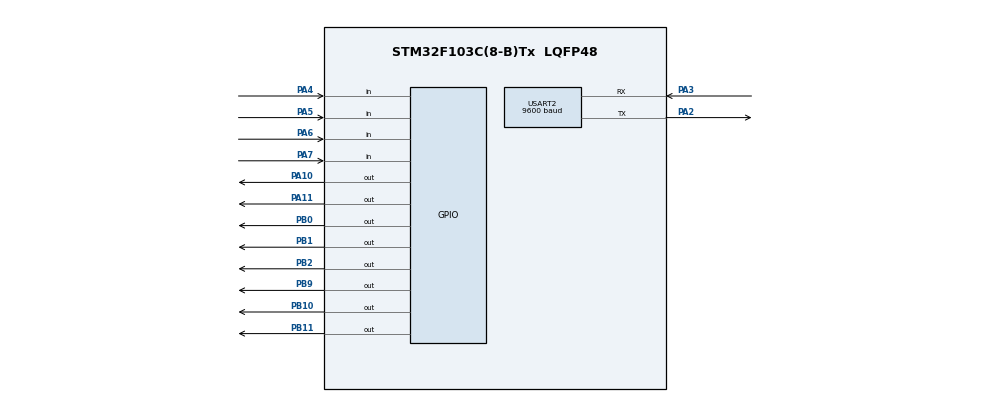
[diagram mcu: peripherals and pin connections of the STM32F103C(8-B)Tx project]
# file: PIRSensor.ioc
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Mcu.Family=STM32F1
Mcu.Name=STM32F103C(8-B)Tx
Mcu.Package=LQFP48
NVIC.PriorityGroup=NVIC_PRIORITYGROUP_4
NVIC.USART2_IRQn=true\:0\:0\:false\:false\:true\:true\:true\:true
PA10.Signal=GPIO_Output
PA11.Signal=GPIO_Output
PA13.Mode=Serial_Wire
PA13.Signal=SYS_JTMS-SWDIO
PA14.Mode=Serial_Wire
PA14.Signal=SYS_JTCK-SWCLK
PA2.Mode=Asynchronous
PA2.Signal=USART2_TX
PA3.Mode=Asynchronous
PA3.Signal=USART2_RX
PA4.Signal=GPIO_Input
PA5.Signal=GPIO_Input
PA6.Signal=GPIO_Input
PA7.Signal=GPIO_Input
PB0.Signal=GPIO_Output
PB1.Signal=GPIO_Output
PB10.Signal=GPIO_Output
PB11.Signal=GPIO_Output
PB2.Signal=GPIO_Output
PB9.Signal=GPIO_Output
PD0-OSC_IN.Mode=HSE-External-Oscillator
PD0-OSC_IN.Signal=RCC_OSC_IN
PD1-OSC_OUT.Mode=HSE-External-Oscillator
PD1-OSC_OUT.Signal=RCC_OSC_OUT
ProjectManager.HeapSize=0x200
ProjectManager.StackSize=0x400
ProjectManager.TargetToolchain=CMake
RCC.APB1Freq_Value=8000000
RCC.APB2Freq_Value=8000000
USART2.BaudRate=9600
USART2.VirtualMode=VM_ASYNC
board=custom

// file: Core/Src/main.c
/* USER CODE BEGIN Header */
/**
  ******************************************************************************
  * @file           : main.c
  * @brief          : Main program body
  ******************************************************************************
  * @attention
  *
  * Copyright (c) 2026 STMicroelectronics.
  * All rights reserved.
  *
  * This software is licensed under terms that can be found in the LICENSE file
  * in the root directory of this software component.
  * If no LICENSE file comes with this software, it is provided AS-IS.
  *
  ******************************************************************************
  */
/* USER CODE END Header */
#include "main.h"
#include "stm32f103xb.h"
#include "stm32f1xx_hal.h"
#include "stm32f1xx_hal_gpio.h"
#include "stm32f1xx_hal_uart.h"

/* USER CODE BEGIN Includes */
#include <stdint.h>
#include <string.h>
/* USER CODE END Includes */

UART_HandleTypeDef huart2;

void SystemClock_Config(void);
static void MX_GPIO_Init(void);
static void MX_USART2_UART_Init(void);

/* USER CODE BEGIN 0 */
uint8_t esp_response;
uint8_t pir_state = 0;
uint8_t last_pir_state = 0;
uint8_t alarm_flag = 0;
uint8_t alarm_timer = 0;
/* USER CODE END 0 */

int main(void)
{

  /* MCU Configuration--------------------------------------------------------*/

  /* Reset of all peripherals, Initializes the Flash interface and the Systick. */
  HAL_Init();

  /* Configure the system clock */
  SystemClock_Config();

  /* Initialize all configured peripherals */
  MX_GPIO_Init();
  MX_USART2_UART_Init();
  /* USER CODE BEGIN 2 */
  HAL_UART_Receive_IT(&huart2, &esp_response, 1);

  /* USER CODE END 2 */

  /* Infinite loop */
  /* USER CODE BEGIN WHILE */
  while (1)
  {
    pir_state = HAL_GPIO_ReadPin(GPIOA, GPIO_PIN_4);

    if (pir_state == GPIO_PIN_SET) {
      uint8_t cmd = 'S'; // start
      HAL_UART_Transmit(&huart2, &cmd, 1, 10);
    }
    last_pir_state = pir_state;
    if (alarm_flag == 1) {
      HAL_GPIO_WritePin(GPIOB, GPIO_PIN_0, GPIO_PIN_SET); // Bật còi chân PB0
      if (HAL_GetTick() - alarm_timer > 2000) { // Hú trong 2 giây
        HAL_GPIO_WritePin(GPIOB, GPIO_PIN_0, GPIO_PIN_RESET);
        alarm_flag = 0;
      }
    }

    HAL_Delay(1000);
    /* USER CODE END WHILE */

  }
}

void SystemClock_Config(void)
{
  RCC_OscInitTypeDef RCC_OscInitStruct = {0};
  RCC_ClkInitTypeDef RCC_ClkInitStruct = {0};

  /** Initializes the RCC Oscillators according to the specified parameters
  * in the RCC_OscInitTypeDef structure.
  */
  RCC_OscInitStruct.OscillatorType = RCC_OSCILLATORTYPE_HSI;
  RCC_OscInitStruct.HSIState = RCC_HSI_ON;
  RCC_OscInitStruct.HSICalibrationValue = RCC_HSICALIBRATION_DEFAULT;
  RCC_OscInitStruct.PLL.PLLState = RCC_PLL_NONE;
  if (HAL_RCC_OscConfig(&RCC_OscInitStruct) != HAL_OK)
  {
    Error_Handler();
  }

  /** Initializes the CPU, AHB and APB buses clocks
  */
  RCC_ClkInitStruct.ClockType = RCC_CLOCKTYPE_HCLK|RCC_CLOCKTYPE_SYSCLK
                              |RCC_CLOCKTYPE_PCLK1|RCC_CLOCKTYPE_PCLK2;
  RCC_ClkInitStruct.SYSCLKSource = RCC_SYSCLKSOURCE_HSI;
  RCC_ClkInitStruct.AHBCLKDivider = RCC_SYSCLK_DIV1;
  RCC_ClkInitStruct.APB1CLKDivider = RCC_HCLK_DIV1;
  RCC_ClkInitStruct.APB2CLKDivider = RCC_HCLK_DIV1;

  if (HAL_RCC_ClockConfig(&RCC_ClkInitStruct, FLASH_LATENCY_0) != HAL_OK)
  {
    Error_Handler();
  }
}

static void MX_USART2_UART_Init(void)
{

  huart2.Instance = USART2;
  huart2.Init.BaudRate = 115200;
  huart2.Init.WordLength = UART_WORDLENGTH_8B;
  huart2.Init.StopBits = UART_STOPBITS_1;
  huart2.Init.Parity = UART_PARITY_NONE;
  huart2.Init.Mode = UART_MODE_TX_RX;
  huart2.Init.HwFlowCtl = UART_HWCONTROL_NONE;
  huart2.Init.OverSampling = UART_OVERSAMPLING_16;
  if (HAL_UART_Init(&huart2) != HAL_OK)
  {
    Error_Handler();
  }

}

static void MX_GPIO_Init(void)
{
  GPIO_InitTypeDef GPIO_InitStruct = {0};

  /* GPIO Ports Clock Enable */
  __HAL_RCC_GPIOD_CLK_ENABLE();
  __HAL_RCC_GPIOA_CLK_ENABLE();
  __HAL_RCC_GPIOB_CLK_ENABLE();

  /*Configure GPIO pin Output Level */
  HAL_GPIO_WritePin(GPIOB, GPIO_PIN_0|GPIO_PIN_1|GPIO_PIN_2|GPIO_PIN_10
                          |GPIO_PIN_11, GPIO_PIN_RESET);

  /*Configure GPIO pin Output Level */
  HAL_GPIO_WritePin(GPIOA, GPIO_PIN_10|GPIO_PIN_11, GPIO_PIN_RESET);

  /*Configure GPIO pins : PA4 PA5 PA6 PA7 */
  GPIO_InitStruct.Pin = GPIO_PIN_4|GPIO_PIN_5|GPIO_PIN_6|GPIO_PIN_7;
  GPIO_InitStruct.Mode = GPIO_MODE_INPUT;
  GPIO_InitStruct.Pull = GPIO_PULLDOWN;
  HAL_GPIO_Init(GPIOA, &GPIO_InitStruct);

  /*Configure GPIO pins : PB0 PB1 PB2 PB10
                           PB11 */
  GPIO_InitStruct.Pin = GPIO_PIN_0|GPIO_PIN_1|GPIO_PIN_2|GPIO_PIN_9|GPIO_PIN_10
                          |GPIO_PIN_11;
  GPIO_InitStruct.Mode = GPIO_MODE_OUTPUT_PP;
  GPIO_InitStruct.Pull = GPIO_NOPULL;
  GPIO_InitStruct.Speed = GPIO_SPEED_FREQ_LOW;
  HAL_GPIO_Init(GPIOB, &GPIO_InitStruct);

  /*Configure GPIO pins : PA10 PA11 */
  GPIO_InitStruct.Pin = GPIO_PIN_10|GPIO_PIN_11;
  GPIO_InitStruct.Mode = GPIO_MODE_OUTPUT_PP;
  GPIO_InitStruct.Pull = GPIO_NOPULL;
  GPIO_InitStruct.Speed = GPIO_SPEED_FREQ_LOW;
  HAL_GPIO_Init(GPIOA, &GPIO_InitStruct);

  /* USER CODE BEGIN MX_GPIO_Init_2 */
  /*Configure GPIO pins : PA10 PA11 */
  GPIO_InitStruct.Pin = GPIO_PIN_10|GPIO_PIN_11;
  GPIO_InitStruct.Mode = GPIO_MODE_OUTPUT_PP;
  GPIO_InitStruct.Pull = GPIO_NOPULL;
  GPIO_InitStruct.Speed = GPIO_SPEED_FREQ_LOW;
  HAL_GPIO_Init(GPIOA, &GPIO_InitStruct);

  /* USER CODE END MX_GPIO_Init_2 */
}

/* USER CODE BEGIN 4 */
void HAL_UART_RxCpltCallback(UART_HandleTypeDef *huart) {
  if (huart->Instance == USART2) {
    if (esp_response == 'A') { // alarm
      alarm_flag = 1;
      alarm_timer = HAL_GetTick();
    } else if (esp_response == 'N') { // none
      alarm_flag = 0;
      HAL_GPIO_WritePin(GPIOB, GPIO_PIN_0, GPIO_PIN_RESET);
    }
    HAL_UART_Receive_IT(&huart2, &esp_response, 1);
  }
}
/* USER CODE END 4 */

void Error_Handler(void)
{
  __disable_irq();
  while (1)
  {
  }
}
